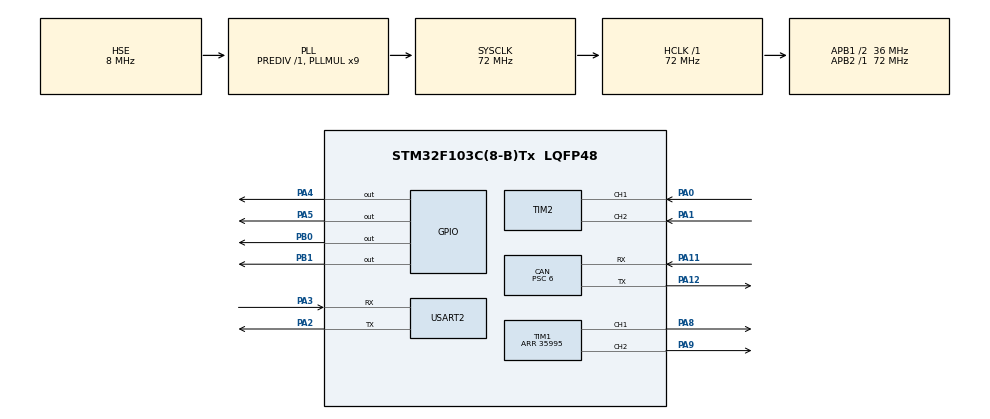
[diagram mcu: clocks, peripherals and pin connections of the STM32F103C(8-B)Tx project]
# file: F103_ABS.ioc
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CAN.ABOM=ENABLE
CAN.BS1=CAN_BS1_9TQ
CAN.BS2=CAN_BS2_2TQ
CAN.CalculateBaudRate=499999
CAN.CalculateTimeBit=2000
CAN.CalculateTimeQuantum=166.66666666666669
CAN.NART=ENABLE
CAN.Prescaler=6
Mcu.Family=STM32F1
Mcu.Name=STM32F103C(8-B)Tx
Mcu.Package=LQFP48
NVIC.CAN1_RX1_IRQn=true\:0\:0\:false\:false\:true\:true\:true\:true
NVIC.PriorityGroup=NVIC_PRIORITYGROUP_4
NVIC.USB_LP_CAN1_RX0_IRQn=true\:0\:0\:false\:false\:true\:true\:true\:true
PA0-WKUP.Signal=S_TIM2_CH1_ETR
PA1.Signal=S_TIM2_CH2
PA11.Mode=CAN_Activate
PA11.Signal=CAN_RX
PA12.Mode=CAN_Activate
PA12.Signal=CAN_TX
PA13.Mode=Serial_Wire
PA13.Signal=SYS_JTMS-SWDIO
PA14.Mode=Serial_Wire
PA14.Signal=SYS_JTCK-SWCLK
PA2.Mode=Asynchronous
PA2.Signal=USART2_TX
PA3.Mode=Asynchronous
PA3.Signal=USART2_RX
PA4.Signal=GPIO_Output
PA5.Signal=GPIO_Output
PA8.Signal=S_TIM1_CH1
PA9.Signal=S_TIM1_CH2
PB0.Signal=GPIO_Output
PB1.Signal=GPIO_Output
PD0-OSC_IN.Mode=HSE-External-Oscillator
PD0-OSC_IN.Signal=RCC_OSC_IN
PD1-OSC_OUT.Mode=HSE-External-Oscillator
PD1-OSC_OUT.Signal=RCC_OSC_OUT
ProjectManager.HeapSize=0x200
ProjectManager.StackSize=0x400
ProjectManager.TargetToolchain=STM32CubeIDE
RCC.AHBFreq_Value=72000000
RCC.APB1CLKDivider=RCC_HCLK_DIV2
RCC.APB1Freq_Value=36000000
RCC.APB1TimFreq_Value=72000000
RCC.APB2Freq_Value=72000000
RCC.APB2TimFreq_Value=72000000
RCC.HCLKFreq_Value=72000000
RCC.PLLMUL=RCC_PLL_MUL9
RCC.PLLSourceVirtual=RCC_PLLSOURCE_HSE
RCC.SYSCLKFreq_VALUE=72000000
RCC.SYSCLKSource=RCC_SYSCLKSOURCE_PLLCLK
RCC.USBFreq_Value=72000000
SH.S_TIM1_CH1.0=TIM1_CH1,PWM Generation1 CH1
SH.S_TIM1_CH2.0=TIM1_CH2,PWM Generation2 CH2
SH.S_TIM2_CH1_ETR.0=TIM2_CH1,Encoder_Interface
SH.S_TIM2_CH2.0=TIM2_CH2,Encoder_Interface
TIM1.Channel-PWM\ Generation1\ CH1=TIM_CHANNEL_1
TIM1.Channel-PWM\ Generation2\ CH2=TIM_CHANNEL_2
TIM1.Period=35995
USART2.VirtualMode=VM_ASYNC
board=custom

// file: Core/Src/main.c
/* USER CODE BEGIN Header */
/**
 ******************************************************************************
 * @file           : main.c
 * @brief          : ABS Node - RX from MAIN and TX back to MAIN
 ******************************************************************************
 */
/* USER CODE END Header */
#include "main.h"

/* USER CODE BEGIN Includes */
#include <stdarg.h>
#include <stdio.h>
#include <string.h>
/* USER CODE END Includes */

/* USER CODE BEGIN PD */
#define CAN_ID_MAIN_TO_ABS           0x111U
#define CAN_ID_ABS_TO_MAIN           0x121U

#define UART_PRINT_TIMEOUT_MS        100U

#define WHEEL_DIAMETER_MM            65.0f
#define WHEEL_CIRCUM_MM              3.1415926f * WHEEL_DIAMETER_MM

#define ENCODER_PPR_MOTOR            11.0f
#define GEAR_RATIO                   21.3f

#define ENCODER_MULTIPLIER           4.0f

#define COUNTS_PER_WHEEL_REV         ENCODER_PPR_MOTOR * GEAR_RATIO * ENCODER_MULTIPLIER

#define SPEED_SAMPLE_TIME_MS         100U
#define SPEED_SAMPLE_TIME_S          0.1f

#define CAN_TX_PERIOD_MS             100U

#define PWM_DEAD_ADC                 10U
#define PWM_MIN_PERCENT              50U
#define PWM_MAX_PERCENT              80U

#define ADC_FULL_SCALE               4095U

#define COUNTER_MAX_16BIT            65535L
#define COUNTER_HALF_16BIT           32767L
#define COUNTER_HALF_NEG_16BIT       -32768L
/* USER CODE END PD */

CAN_HandleTypeDef hcan;

TIM_HandleTypeDef htim1;
TIM_HandleTypeDef htim2;

UART_HandleTypeDef huart2;

/* USER CODE BEGIN PV */
static CAN_FilterTypeDef sFilterConfig;
static CAN_RxHeaderTypeDef RxHeader;
static uint8_t RxData[8];

static CAN_TxHeaderTypeDef TxHeader;
static uint32_t TxMailbox;
static uint8_t TxData[8] = {0U};

static char buff[128];

// data Rx MAIN
static uint8_t main_cmd1 = 0U;
static uint8_t main_cmd2 = 0U;
static uint8_t main_sw1  = 0U;
static uint8_t main_sw2  = 0U;

// data ABS Tx MAIN
static uint8_t abs1 = 0U;
static uint8_t abs2 = 0U;
static uint8_t abs3 = 0U;

// Rx flag
static volatile uint8_t abs_rx_new_data = 0U;

// counter
static uint8_t abs_to_main_cnt = 0U;

// motor
static uint16_t pwm_motor1 = 0U;
static uint8_t motor_state = 0U;// 0 stop, 1 forward, 2 reverse, 3 brake

// encoder
static int32_t enc1_now = 0L;
static int32_t enc1_prev = 0L;
static int32_t enc1_diff = 0L;

static uint8_t wheel1_speed = 0U;

static float wheel1_speed_mps = 0.0f;

static uint32_t speed_last_tick = 0U;
static uint32_t can_tx_last_tick = 0U;

static uint16_t adc_raw_from_main = 0U;

/* USER CODE END PV */

void SystemClock_Config(void);
static void MX_GPIO_Init(void);
static void MX_CAN_Init(void);
static void MX_USART2_UART_Init(void);
static void MX_TIM1_Init(void);
static void MX_TIM2_Init(void);
/* USER CODE BEGIN PFP */
static void mPrint(const char * format, ...);
//static void Print_MAIN_RX(void);
static void Send_Data_To_MAIN(void);
static void Print_ABS_TX(void);

static uint16_t Map_ADC_To_PWM(uint16_t adc_raw);
static void Motor_Stop(void);
static void Motor_Forward(uint16_t pwm);
static void Motor_Reverse(uint16_t pwm);
static void Motor_Control_From_MAIN(void);
static void Encoder_Update(void);

void HAL_CAN_RxFifo0MsgPendingCallback(CAN_HandleTypeDef * hcan);
/* USER CODE END PFP */

/* USER CODE BEGIN 0 */
static void mPrint(const char * format, ...)
{
	va_list args;
	int32_t len;

	(void)memset((void *)buff, 0, sizeof(buff));

	va_start(args, format);
	len = (int32_t)vsnprintf(buff, sizeof(buff), format, args);
	va_end(args);

	if (len > 0)
	{
		uint16_t tx_len;

		if (len >= (int32_t)sizeof(buff))
		{
			tx_len = (uint16_t)(sizeof(buff) - 1U);
		}
		else
		{
			tx_len = (uint16_t)len;
		}

		(void)HAL_UART_Transmit(&huart2, (uint8_t *)buff, tx_len, UART_PRINT_TIMEOUT_MS);
	}
	else
	{
	}
}

//static void Print_MAIN_RX(void)
//{
//	mPrint("[ABS RX MAIN] ID=0x111 | ADC=%u | BRAKE=%u | DIR=%u\r\n",
//			adc_raw_from_main, main_sw1, main_sw2);
//}

static void Print_ABS_TX(void)
{
	mPrint("[ABS RX MAIN] ID=0x111 | ADC=%u | BRAKE=%u | DIR=%u\r\n",
				adc_raw_from_main, main_sw1, main_sw2);
	mPrint("[ABS TX MAIN] ID=0x121 | D1=%u cm/s | D2=%u cm/s | STATE=%u | CNT=%u\r\n",
			TxData[0], TxData[1], TxData[2], abs_to_main_cnt);
	mPrint("[ABS MOTOR] ADC=%u | PWM=%u | BRAKE=%u | DIR=%u\r\n\n",
				adc_raw_from_main, pwm_motor1, main_sw1, main_sw2);
}

static uint16_t Map_ADC_To_PWM(uint16_t adc_raw)
{
	uint32_t arr;
	uint32_t pwm_min;
	uint32_t pwm_max;
	uint32_t ccr;
	uint16_t pwm_out;

	arr = __HAL_TIM_GET_AUTORELOAD(&htim1);
	pwm_min = (arr * PWM_MIN_PERCENT) / 100U;
	pwm_max = (arr * PWM_MAX_PERCENT) / 100U;

	if (adc_raw <= PWM_DEAD_ADC)
	{
		pwm_out = 0U;
	}
	else
	{
		ccr = pwm_min +
				(((uint32_t)(adc_raw - PWM_DEAD_ADC)) * (pwm_max - pwm_min)) /
				(ADC_FULL_SCALE - PWM_DEAD_ADC);

		if (ccr > pwm_max)
		{
			ccr = pwm_max;
		}
		else{}
		pwm_out = (uint16_t)ccr;
	}

	return pwm_out;
}

static void Motor_Forward(uint16_t pwm)
{
	HAL_GPIO_WritePin(GPIOA, GPIO_PIN_5, GPIO_PIN_SET);
	HAL_GPIO_WritePin(GPIOA, GPIO_PIN_4, GPIO_PIN_RESET);
	__HAL_TIM_SET_COMPARE(&htim1, TIM_CHANNEL_1, (uint32_t)pwm);
	__HAL_TIM_SET_COMPARE(&htim1, TIM_CHANNEL_2, (uint32_t)pwm);
	motor_state = 1U;
}

static void Motor_Reverse(uint16_t pwm)
{
	HAL_GPIO_WritePin(GPIOA, GPIO_PIN_5, GPIO_PIN_RESET);
	HAL_GPIO_WritePin(GPIOA, GPIO_PIN_4, GPIO_PIN_SET);
	__HAL_TIM_SET_COMPARE(&htim1, TIM_CHANNEL_1, (uint32_t)pwm);
	__HAL_TIM_SET_COMPARE(&htim1, TIM_CHANNEL_2, (uint32_t)pwm);
	motor_state = 2U;
}

static void Motor_Stop(void)
{
	__HAL_TIM_SET_COMPARE(&htim1, TIM_CHANNEL_1, 0U);
	__HAL_TIM_SET_COMPARE(&htim1, TIM_CHANNEL_2, 0U);
	HAL_GPIO_WritePin(GPIOB, GPIO_PIN_0 | GPIO_PIN_1, GPIO_PIN_RESET);
	HAL_GPIO_WritePin(GPIOA, GPIO_PIN_4 | GPIO_PIN_5, GPIO_PIN_RESET);
	motor_state = 0U;
}

static void Motor_Control_From_MAIN(void)
{
	uint16_t pwm;

	pwm = Map_ADC_To_PWM(adc_raw_from_main);

	pwm_motor1 = pwm;

//	mPrint("[ABS MOTOR] ADC=%u | PWM=%u | BRAKE=%u | DIR=%u\r\n\n",
//			adc_raw_from_main, pwm, main_sw1, main_sw2);

	if (main_sw1 == 1U)
	{
		Motor_Stop();
		motor_state = 3U;
	}
	else if (adc_raw_from_main == 0U)
	{
		Motor_Stop();
	}
	else if (main_sw2 == 0U)
	{
		Motor_Forward(pwm);
	}
	else
	{
		Motor_Reverse(pwm);
	}
}

static void Encoder_Update(void)
{
	uint32_t now_tick = HAL_GetTick();

	if ((now_tick - speed_last_tick) >= SPEED_SAMPLE_TIME_MS)
	{
		speed_last_tick = now_tick;

		enc1_now  = (int32_t)__HAL_TIM_GET_COUNTER(&htim2);
		enc1_diff = enc1_now - enc1_prev;

		//overflow correction
		if (enc1_diff >  COUNTER_HALF_16BIT) enc1_diff -= (COUNTER_MAX_16BIT + 1L);
		if (enc1_diff < COUNTER_HALF_NEG_16BIT) enc1_diff += (COUNTER_MAX_16BIT + 1L);

		enc1_prev = enc1_now;

		if (enc1_diff < 0L) enc1_diff = -enc1_diff;

		float rev1 = (float)enc1_diff / COUNTS_PER_WHEEL_REV;

		float speed1_cmps = (rev1 * WHEEL_CIRCUM_MM / 1000.0f / SPEED_SAMPLE_TIME_S) * 100.0f;

		wheel1_speed = (uint8_t)((speed1_cmps > 255.0f) ? 255.0f : speed1_cmps);
		abs1 = wheel1_speed;
		abs2 = 0x00;
		abs3 = motor_state;
	}
}

static void Send_Data_To_MAIN(void)
{
	HAL_StatusTypeDef tx_status;
	TxHeader.StdId = CAN_ID_ABS_TO_MAIN; // 0x121
	TxHeader.ExtId = 0U;
	TxHeader.IDE   = CAN_ID_STD;
	TxHeader.RTR   = CAN_RTR_DATA;
	TxHeader.DLC   = 3U;
	TxHeader.TransmitGlobalTime = DISABLE;

	TxData[0] = abs1;
	TxData[1] = abs2;
	TxData[2] = abs3;

	tx_status = HAL_CAN_AddTxMessage(&hcan, &TxHeader, TxData, &TxMailbox);

	if (tx_status == HAL_OK) {
		abs_to_main_cnt++;
		Print_ABS_TX();
	} else {
		mPrint("[ABS TX MAIN] FAIL | err=0x%08lX\r\n", HAL_CAN_GetError(&hcan));
	}
}

void HAL_CAN_RxFifo0MsgPendingCallback(CAN_HandleTypeDef * hcan_ptr)
{
	HAL_StatusTypeDef rx_status;

	rx_status = HAL_CAN_GetRxMessage(hcan_ptr, CAN_RX_FIFO0, &RxHeader, RxData);

	if (rx_status == HAL_OK)
	{
		if (RxHeader.IDE == CAN_ID_STD)
		{
			switch (RxHeader.StdId)
			{
			case CAN_ID_MAIN_TO_ABS:
			{
				if (RxHeader.DLC >= 4U)
				{
					main_cmd1 = RxData[0];
					main_cmd2 = RxData[1];
					main_sw1 = RxData[2];
					main_sw2 = RxData[3];

					adc_raw_from_main =
							(uint16_t)((uint16_t)main_cmd1 |
									(uint16_t)(((uint16_t)main_cmd2 & 0x0FU) << 8U));

					abs_rx_new_data = 1U;
				}
				else{}
				break;
			}

			default:
			{
				uint8_t i;

				mPrint("[ABS RX] ID=0x%03lX DLC=%u | ",
						RxHeader.StdId, RxHeader.DLC);

				for (i = 0U; i < RxHeader.DLC; i++)
				{
					mPrint("%02X ", RxData[i]);
				}

				mPrint("\r\n");
				break;
			}
			}
		}
		else{}
	}
	else{}
}
/* USER CODE END 0 */

int main(void)
{

	/* MCU Configuration--------------------------------------------------------*/

	/* Reset of all peripherals, Initializes the Flash interface and the Systick. */
	HAL_Init();

	/* Configure the system clock */
	SystemClock_Config();

	/* Initialize all configured peripherals */
	MX_GPIO_Init();
	MX_CAN_Init();
	MX_USART2_UART_Init();
	MX_TIM1_Init();
	MX_TIM2_Init();
	/* USER CODE BEGIN 2 */
	mPrint("\r\n=============================\r\n");
	mPrint("BOOT OK\r\n");
	mPrint("UART2 OK\r\n");

	sFilterConfig.FilterBank = 0U;
	sFilterConfig.FilterMode = CAN_FILTERMODE_IDMASK;
	sFilterConfig.FilterScale = CAN_FILTERSCALE_32BIT;
	sFilterConfig.FilterFIFOAssignment = CAN_FILTER_FIFO0;
	sFilterConfig.FilterActivation = CAN_FILTER_ENABLE;
	sFilterConfig.SlaveStartFilterBank = 14U;

	sFilterConfig.FilterIdHigh = (CAN_ID_MAIN_TO_ABS << 5); //0x111
	sFilterConfig.FilterIdLow = 0x0000U;
	sFilterConfig.FilterMaskIdHigh = 0xFFE0U;
	sFilterConfig.FilterMaskIdLow = 0x0000U;

	if (HAL_CAN_ConfigFilter(&hcan, &sFilterConfig) != HAL_OK)
	{
		mPrint("CAN Filter Config FAIL\r\n");
		Error_Handler();
	}
	else
	{
		mPrint("CAN Filter Config OK\r\n");
	}

	if (HAL_CAN_Start(&hcan) != HAL_OK)
	{
		mPrint("CAN Start FAIL\r\n");
		Error_Handler();
	}
	else
	{
		mPrint("CAN Start OK\r\n");
	}

	if (HAL_CAN_ActivateNotification(&hcan, CAN_IT_RX_FIFO0_MSG_PENDING) != HAL_OK)
	{
		mPrint("CAN Notification FAIL\r\n");
		Error_Handler();
	}
	else
	{
		mPrint("CAN Notification OK\r\n");
	}

	HAL_NVIC_SetPriority(USB_LP_CAN1_RX0_IRQn, 5, 0);
	HAL_NVIC_EnableIRQ(USB_LP_CAN1_RX0_IRQn);
	mPrint("CAN RX1 NVIC OK\r\n");

	mPrint("ABS NODE READY| RX:0x111 | TX:0x121\r\n");
	mPrint("=============================\r\n\r\n");

	(void)HAL_TIM_PWM_Start(&htim1, TIM_CHANNEL_1);
	HAL_TIMEx_PWMN_Start(&htim1, TIM_CHANNEL_1);
	(void)HAL_TIM_PWM_Start(&htim1, TIM_CHANNEL_2);

	(void)HAL_TIM_Encoder_Start(&htim2, TIM_CHANNEL_ALL);

	Motor_Stop();
	/* USER CODE END 2 */

	/* Infinite loop */
	while (1)
	{

		/* USER CODE BEGIN 3 */
		if (abs_rx_new_data != 0U)
		{
			abs_rx_new_data = 0U;
//			Print_MAIN_RX();
			Motor_Control_From_MAIN();
		}
		else{}

		Encoder_Update();

		if ((HAL_GetTick() - can_tx_last_tick) >= CAN_TX_PERIOD_MS)
		{
			can_tx_last_tick = HAL_GetTick();
			Send_Data_To_MAIN();
		}
		else{}

		HAL_Delay(5U);
	}
	/* USER CODE END 3 */
}

void SystemClock_Config(void)
{
	RCC_OscInitTypeDef RCC_OscInitStruct = {0};
	RCC_ClkInitTypeDef RCC_ClkInitStruct = {0};

	/** Initializes the RCC Oscillators according to the specified parameters
	 * in the RCC_OscInitTypeDef structure.
	 */
	RCC_OscInitStruct.OscillatorType = RCC_OSCILLATORTYPE_HSE;
	RCC_OscInitStruct.HSEState = RCC_HSE_ON;
	RCC_OscInitStruct.HSEPredivValue = RCC_HSE_PREDIV_DIV1;
	RCC_OscInitStruct.HSIState = RCC_HSI_ON;
	RCC_OscInitStruct.PLL.PLLState = RCC_PLL_ON;
	RCC_OscInitStruct.PLL.PLLSource = RCC_PLLSOURCE_HSE;
	RCC_OscInitStruct.PLL.PLLMUL = RCC_PLL_MUL9;
	if (HAL_RCC_OscConfig(&RCC_OscInitStruct) != HAL_OK)
	{
		Error_Handler();
	}

	/** Initializes the CPU, AHB and APB buses clocks
	 */
	RCC_ClkInitStruct.ClockType = RCC_CLOCKTYPE_HCLK|RCC_CLOCKTYPE_SYSCLK
			|RCC_CLOCKTYPE_PCLK1|RCC_CLOCKTYPE_PCLK2;
	RCC_ClkInitStruct.SYSCLKSource = RCC_SYSCLKSOURCE_PLLCLK;
	RCC_ClkInitStruct.AHBCLKDivider = RCC_SYSCLK_DIV1;
	RCC_ClkInitStruct.APB1CLKDivider = RCC_HCLK_DIV2;
	RCC_ClkInitStruct.APB2CLKDivider = RCC_HCLK_DIV1;

	if (HAL_RCC_ClockConfig(&RCC_ClkInitStruct, FLASH_LATENCY_2) != HAL_OK)
	{
		Error_Handler();
	}
}

static void MX_CAN_Init(void)
{

	hcan.Instance = CAN1;
	hcan.Init.Prescaler = 6;
	hcan.Init.Mode = CAN_MODE_NORMAL;
	hcan.Init.SyncJumpWidth = CAN_SJW_1TQ;
	hcan.Init.TimeSeg1 = CAN_BS1_9TQ;
	hcan.Init.TimeSeg2 = CAN_BS2_2TQ;
	hcan.Init.TimeTriggeredMode = DISABLE;
	hcan.Init.AutoBusOff = ENABLE;
	hcan.Init.AutoWakeUp = DISABLE;
	hcan.Init.AutoRetransmission = ENABLE;
	hcan.Init.ReceiveFifoLocked = DISABLE;
	hcan.Init.TransmitFifoPriority = DISABLE;
	if (HAL_CAN_Init(&hcan) != HAL_OK)
	{
		Error_Handler();
	}

}

static void MX_TIM1_Init(void)
{

	TIM_MasterConfigTypeDef sMasterConfig = {0};
	TIM_OC_InitTypeDef sConfigOC = {0};
	TIM_BreakDeadTimeConfigTypeDef sBreakDeadTimeConfig = {0};

	htim1.Instance = TIM1;
	htim1.Init.Prescaler = 0;
	htim1.Init.CounterMode = TIM_COUNTERMODE_UP;
	htim1.Init.Period = 35995;
	htim1.Init.ClockDivision = TIM_CLOCKDIVISION_DIV1;
	htim1.Init.RepetitionCounter = 0;
	htim1.Init.AutoReloadPreload = TIM_AUTORELOAD_PRELOAD_DISABLE;
	if (HAL_TIM_PWM_Init(&htim1) != HAL_OK)
	{
		Error_Handler();
	}
	sMasterConfig.MasterOutputTrigger = TIM_TRGO_RESET;
	sMasterConfig.MasterSlaveMode = TIM_MASTERSLAVEMODE_DISABLE;
	if (HAL_TIMEx_MasterConfigSynchronization(&htim1, &sMasterConfig) != HAL_OK)
	{
		Error_Handler();
	}
	sConfigOC.OCMode = TIM_OCMODE_PWM1;
	sConfigOC.Pulse = 0;
	sConfigOC.OCPolarity = TIM_OCPOLARITY_HIGH;
	sConfigOC.OCNPolarity = TIM_OCNPOLARITY_HIGH;
	sConfigOC.OCFastMode = TIM_OCFAST_DISABLE;
	sConfigOC.OCIdleState = TIM_OCIDLESTATE_RESET;
	sConfigOC.OCNIdleState = TIM_OCNIDLESTATE_RESET;
	if (HAL_TIM_PWM_ConfigChannel(&htim1, &sConfigOC, TIM_CHANNEL_1) != HAL_OK)
	{
		Error_Handler();
	}
	if (HAL_TIM_PWM_ConfigChannel(&htim1, &sConfigOC, TIM_CHANNEL_2) != HAL_OK)
	{
		Error_Handler();
	}
	sBreakDeadTimeConfig.OffStateRunMode = TIM_OSSR_DISABLE;
	sBreakDeadTimeConfig.OffStateIDLEMode = TIM_OSSI_DISABLE;
	sBreakDeadTimeConfig.LockLevel = TIM_LOCKLEVEL_OFF;
	sBreakDeadTimeConfig.DeadTime = 0;
	sBreakDeadTimeConfig.BreakState = TIM_BREAK_DISABLE;
	sBreakDeadTimeConfig.BreakPolarity = TIM_BREAKPOLARITY_HIGH;
	sBreakDeadTimeConfig.AutomaticOutput = TIM_AUTOMATICOUTPUT_DISABLE;
	if (HAL_TIMEx_ConfigBreakDeadTime(&htim1, &sBreakDeadTimeConfig) != HAL_OK)
	{
		Error_Handler();
	}
	HAL_TIM_MspPostInit(&htim1);

}

static void MX_TIM2_Init(void)
{

	TIM_Encoder_InitTypeDef sConfig = {0};
	TIM_MasterConfigTypeDef sMasterConfig = {0};

	htim2.Instance = TIM2;
	htim2.Init.Prescaler = 0;
	htim2.Init.CounterMode = TIM_COUNTERMODE_UP;
	htim2.Init.Period = 65535;
	htim2.Init.ClockDivision = TIM_CLOCKDIVISION_DIV1;
	htim2.Init.AutoReloadPreload = TIM_AUTORELOAD_PRELOAD_DISABLE;
	sConfig.EncoderMode = TIM_ENCODERMODE_TI1;
	sConfig.IC1Polarity = TIM_ICPOLARITY_RISING;
	sConfig.IC1Selection = TIM_ICSELECTION_DIRECTTI;
	sConfig.IC1Prescaler = TIM_ICPSC_DIV1;
	sConfig.IC1Filter = 0;
	sConfig.IC2Polarity = TIM_ICPOLARITY_RISING;
	sConfig.IC2Selection = TIM_ICSELECTION_DIRECTTI;
	sConfig.IC2Prescaler = TIM_ICPSC_DIV1;
	sConfig.IC2Filter = 0;
	if (HAL_TIM_Encoder_Init(&htim2, &sConfig) != HAL_OK)
	{
		Error_Handler();
	}
	sMasterConfig.MasterOutputTrigger = TIM_TRGO_RESET;
	sMasterConfig.MasterSlaveMode = TIM_MASTERSLAVEMODE_DISABLE;
	if (HAL_TIMEx_MasterConfigSynchronization(&htim2, &sMasterConfig) != HAL_OK)
	{
		Error_Handler();
	}

}

static void MX_USART2_UART_Init(void)
{

	huart2.Instance = USART2;
	huart2.Init.BaudRate = 115200;
	huart2.Init.WordLength = UART_WORDLENGTH_8B;
	huart2.Init.StopBits = UART_STOPBITS_1;
	huart2.Init.Parity = UART_PARITY_NONE;
	huart2.Init.Mode = UART_MODE_TX_RX;
	huart2.Init.HwFlowCtl = UART_HWCONTROL_NONE;
	huart2.Init.OverSampling = UART_OVERSAMPLING_16;
	if (HAL_UART_Init(&huart2) != HAL_OK)
	{
		Error_Handler();
	}

}

static void MX_GPIO_Init(void)
{
	GPIO_InitTypeDef GPIO_InitStruct = {0};

	/* GPIO Ports Clock Enable */
	__HAL_RCC_GPIOD_CLK_ENABLE();
	__HAL_RCC_GPIOA_CLK_ENABLE();
	__HAL_RCC_GPIOB_CLK_ENABLE();

	/*Configure GPIO pin Output Level */
	HAL_GPIO_WritePin(GPIOA, GPIO_PIN_4|GPIO_PIN_5, GPIO_PIN_RESET);

	/*Configure GPIO pin Output Level */
	HAL_GPIO_WritePin(GPIOB, GPIO_PIN_0|GPIO_PIN_1, GPIO_PIN_RESET);

	/*Configure GPIO pins : PA4 PA5 */
	GPIO_InitStruct.Pin = GPIO_PIN_4|GPIO_PIN_5;
	GPIO_InitStruct.Mode = GPIO_MODE_OUTPUT_PP;
	GPIO_InitStruct.Pull = GPIO_NOPULL;
	GPIO_InitStruct.Speed = GPIO_SPEED_FREQ_LOW;
	HAL_GPIO_Init(GPIOA, &GPIO_InitStruct);

	/*Configure GPIO pins : PB0 PB1 */
	GPIO_InitStruct.Pin = GPIO_PIN_0|GPIO_PIN_1;
	GPIO_InitStruct.Mode = GPIO_MODE_OUTPUT_PP;
	GPIO_InitStruct.Pull = GPIO_NOPULL;
	GPIO_InitStruct.Speed = GPIO_SPEED_FREQ_LOW;
	HAL_GPIO_Init(GPIOB, &GPIO_InitStruct);

}

void Error_Handler(void)
{
	__disable_irq();
	while (1)
	{
	}
}
